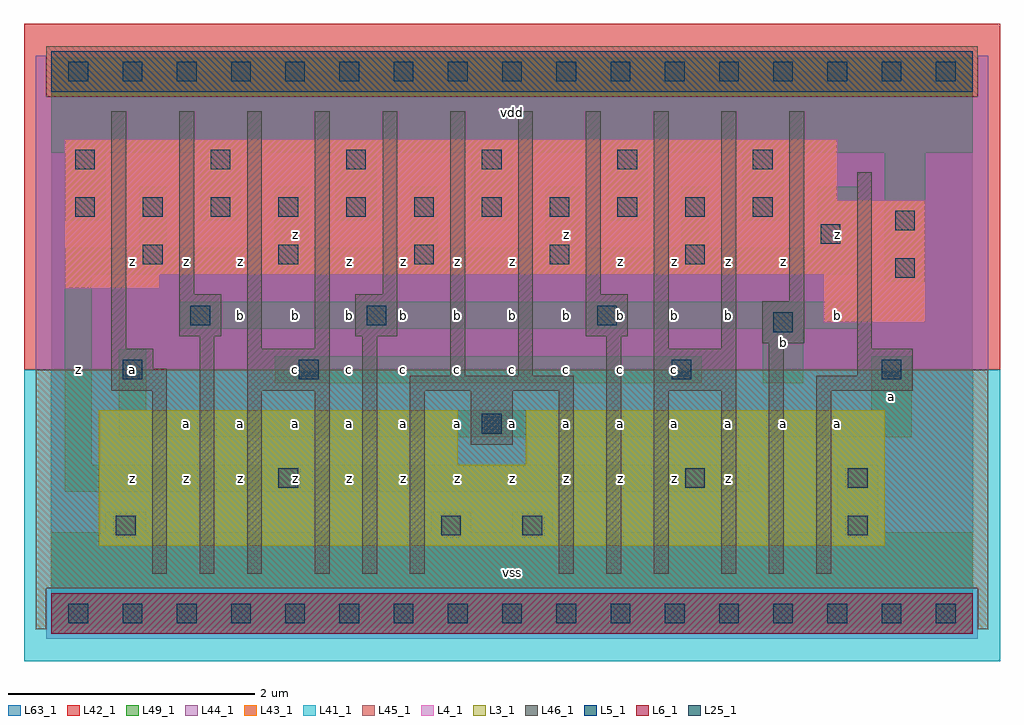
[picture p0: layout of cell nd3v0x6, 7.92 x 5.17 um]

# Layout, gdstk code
import gdstk
lib = gdstk.Library(unit=1e-6, precision=1e-09)
def R(c, l, rs):  # rectangles x0, y0, x1, y1
    for r in rs: c.add(gdstk.rectangle(r[:2], r[2:], *l))
def A(c, l, x, y, w, h, nx, ny, dx, dy):  # array of equal rectangles
    R(c, l, [(x+i*dx, y+j*dy, x+i*dx+w, y+j*dy+h) for i in range(nx) for j in range(ny)])
L3_1 = (3, 1)
L4_1 = (4, 1)
L5_1 = (5, 1)
L6_1 = (6, 1)
L25_1 = (25, 1)
L41_1 = (41, 1)
L42_1 = (42, 1)
L43_1 = (43, 1)
L44_1 = (44, 1)
L45_1 = (45, 1)
L46_1 = (46, 1)
L49_1 = (49, 1)
L63_1 = (63, 1)

nd3v0x6 = lib.new_cell('nd3v0x6')
R(nd3v0x6, L3_1, [(0.385,0.55,6.765,1.21), (0.385,1.21,3.3,1.65), (3.85,1.21,6.765,1.65)])
R(nd3v0x6, L4_1, [(6.27,2.365,7.095,2.75), (0.11,2.64,0.88,2.75), (0.11,2.75,7.095,3.355), (0.11,3.355,6.38,3.85)])
R(nd3v0x6, L5_1, [(0,4.235,7.48,4.565)])
R(nd3v0x6, L6_1, [(0,-0.165,7.48,0.165)])
A(nd3v0x6, L25_1, 0.14, -0.08, 0.16, 0.16, 17, 2, 0.44, 4.4)
A(nd3v0x6, L25_1, 0.745, 2.835, 0.16, 0.16, 5, 1, 1.1, 0)
A(nd3v0x6, L25_1, 0.195, 3.22, 0.16, 0.16, 11, 1, 0.55, 0)
A(nd3v0x6, L25_1, 0.195, 3.605, 0.16, 0.16, 6, 1, 1.1, 0)
R(nd3v0x6, L25_1, [(0.525,0.635,0.685,0.795), (3.165,0.635,3.325,0.795), (3.825,0.635,3.985,0.795), (6.465,0.635,6.625,0.795), (1.845,1.02,2.005,1.18), (5.145,1.02,5.305,1.18), (6.465,1.02,6.625,1.18), (3.495,1.46,3.655,1.62), (0.58,1.9,0.74,2.06), (2.01,1.9,2.17,2.06), (5.035,1.9,5.195,2.06), (6.74,1.9,6.9,2.06), (5.86,2.285,6.02,2.445), (1.13,2.34,1.29,2.5), (2.56,2.34,2.72,2.5), (4.43,2.34,4.59,2.5), (6.85,2.725,7.01,2.885), (6.245,3,6.405,3.16), (6.85,3.11,7.01,3.27)])
R(nd3v0x6, L41_1, [(-0.22,-0.385,7.7,1.98)])
R(nd3v0x6, L42_1, [(-0.22,1.98,7.7,4.785)])
R(nd3v0x6, L43_1, [(0,-0.165,7.48,0.165), (0.385,0.55,6.765,1.21), (0.385,1.21,3.3,1.65), (3.85,1.21,6.765,1.65), (6.27,2.365,7.095,2.75), (0.11,2.64,0.88,2.75), (0.11,2.75,7.095,3.355), (0.11,3.355,6.38,3.85), (0,4.235,7.48,4.565)])
R(nd3v0x6, L44_1, [(-0.04,-0.205,7.52,0.205), (-0.125,1.98,7.605,4.195), (-0.125,4.195,-0.04,4.525), (7.52,4.195,7.605,4.525)])
R(nd3v0x6, L45_1, [(-0.125,-0.125,-0.04,0.205), (7.52,-0.125,7.605,0.205), (-0.125,0.205,7.605,1.98), (-0.04,4.195,7.52,4.605)])
A(nd3v0x6, L46_1, 1.04, 2.59, 0.12, 1.485, 3, 1, 1.65, 0)
R(nd3v0x6, L46_1, [(0.82,0.325,0.94,1.81), (1.205,0.325,1.325,2.25), (1.59,0.325,1.71,1.81), (2.14,0.325,2.26,1.81), (2.525,0.325,2.645,2.25), (2.91,0.325,3.03,1.81), (4.12,0.325,4.24,1.81), (4.505,0.325,4.625,2.25), (4.89,0.325,5.01,1.81), (5.44,0.325,5.56,1.81), (5.825,0.325,5.945,2.195), (6.21,0.325,6.33,1.81), (3.405,1.37,3.745,1.81), (0.49,1.81,0.94,1.985), (1.59,1.81,2.26,2.15), (2.91,1.81,4.24,1.93), (4.89,1.81,5.56,2.15), (6.21,1.81,6.99,1.93), (3.24,1.93,3.36,4.075), (3.79,1.93,3.91,4.075), (6.54,1.93,6.99,2.15), (0.49,1.985,0.83,2.15), (0.49,2.15,0.61,4.075), (1.59,2.15,1.71,4.075), (2.14,2.15,2.26,4.075), (4.89,2.15,5.01,4.075), (5.44,2.15,5.56,4.075), (6.54,2.15,6.66,3.58), (5.77,2.195,6.11,2.535), (1.04,2.25,1.38,2.59), (2.47,2.25,2.81,2.59), (4.34,2.25,4.68,2.59), (5.99,2.535,6.11,4.075)])
A(nd3v0x6, L49_1, 0.715, 2.97, 0.22, 0.495, 3, 1, 2.2, 0)
A(nd3v0x6, L49_1, 0.11, 3.19, 0.33, 0.55, 6, 1, 1.1, 0)
R(nd3v0x6, L49_1, [(0,-0.11,7.48,0.66), (0.44,0.66,0.77,0.825), (3.08,0.66,3.41,0.825), (3.74,0.66,4.07,0.825), (6.38,0.66,6.71,1.21), (0.11,0.99,5.665,1.21), (0.11,1.21,0.33,2.75), (0.55,1.43,6.985,1.65), (0.55,1.65,0.77,2.145), (6.655,1.65,6.985,2.09), (1.815,1.87,5.28,2.09), (5.775,1.87,6.105,2.31), (1.045,2.31,6.545,2.53), (6.765,2.695,7.095,3.74), (0.11,2.75,6.545,2.97), (1.815,2.97,2.09,3.465), (4.015,2.97,4.29,3.465), (6.215,2.97,6.545,3.465), (0,3.74,7.48,4.51)])
R(nd3v0x6, L63_1, [(0,0,7.48,4.4)])
nd3v0x6.add(gdstk.Label('z', (0.66,1.1), layer=49, texttype=1))
nd3v0x6.add(gdstk.Label('z', (0.22,1.98), layer=49, texttype=1))
nd3v0x6.add(gdstk.Label('a', (0.66,1.98), layer=49, texttype=1))
nd3v0x6.add(gdstk.Label('z', (0.66,2.86), layer=49, texttype=1))
nd3v0x6.add(gdstk.Label('z', (1.1,1.1), layer=49, texttype=1))
nd3v0x6.add(gdstk.Label('z', (1.54,1.1), layer=49, texttype=1))
nd3v0x6.add(gdstk.Label('z', (1.98,1.1), layer=49, texttype=1))
nd3v0x6.add(gdstk.Label('a', (1.54,1.54), layer=49, texttype=1))
nd3v0x6.add(gdstk.Label('a', (1.98,1.54), layer=49, texttype=1))
nd3v0x6.add(gdstk.Label('a', (1.1,1.54), layer=49, texttype=1))
nd3v0x6.add(gdstk.Label('c', (1.98,1.98), layer=49, texttype=1))
nd3v0x6.add(gdstk.Label('b', (1.54,2.42), layer=49, texttype=1))
nd3v0x6.add(gdstk.Label('b', (1.98,2.42), layer=49, texttype=1))
nd3v0x6.add(gdstk.Label('z', (1.1,2.86), layer=49, texttype=1))
nd3v0x6.add(gdstk.Label('z', (1.54,2.86), layer=49, texttype=1))
nd3v0x6.add(gdstk.Label('z', (1.98,3.08), layer=49, texttype=1))
nd3v0x6.add(gdstk.Label('z', (2.42,1.1), layer=49, texttype=1))
nd3v0x6.add(gdstk.Label('z', (2.86,1.1), layer=49, texttype=1))
nd3v0x6.add(gdstk.Label('z', (3.3,1.1), layer=49, texttype=1))
nd3v0x6.add(gdstk.Label('a', (2.86,1.54), layer=49, texttype=1))
nd3v0x6.add(gdstk.Label('a', (3.3,1.54), layer=49, texttype=1))
nd3v0x6.add(gdstk.Label('a', (2.42,1.54), layer=49, texttype=1))
nd3v0x6.add(gdstk.Label('c', (2.42,1.98), layer=49, texttype=1))
nd3v0x6.add(gdstk.Label('c', (2.86,1.98), layer=49, texttype=1))
nd3v0x6.add(gdstk.Label('c', (3.3,1.98), layer=49, texttype=1))
nd3v0x6.add(gdstk.Label('b', (2.86,2.42), layer=49, texttype=1))
nd3v0x6.add(gdstk.Label('b', (3.3,2.42), layer=49, texttype=1))
nd3v0x6.add(gdstk.Label('b', (2.42,2.42), layer=49, texttype=1))
nd3v0x6.add(gdstk.Label('z', (2.42,2.86), layer=49, texttype=1))
nd3v0x6.add(gdstk.Label('z', (2.86,2.86), layer=49, texttype=1))
nd3v0x6.add(gdstk.Label('z', (3.3,2.86), layer=49, texttype=1))
nd3v0x6.add(gdstk.Label('vss', (3.74,0.33), layer=49, texttype=1))
nd3v0x6.add(gdstk.Label('z', (3.74,1.1), layer=49, texttype=1))
nd3v0x6.add(gdstk.Label('z', (4.18,1.1), layer=49, texttype=1))
nd3v0x6.add(gdstk.Label('z', (4.62,1.1), layer=49, texttype=1))
nd3v0x6.add(gdstk.Label('a', (4.18,1.54), layer=49, texttype=1))
nd3v0x6.add(gdstk.Label('a', (4.62,1.54), layer=49, texttype=1))
nd3v0x6.add(gdstk.Label('a', (3.74,1.54), layer=49, texttype=1))
nd3v0x6.add(gdstk.Label('c', (3.74,1.98), layer=49, texttype=1))
nd3v0x6.add(gdstk.Label('c', (4.18,1.98), layer=49, texttype=1))
nd3v0x6.add(gdstk.Label('c', (4.62,1.98), layer=49, texttype=1))
nd3v0x6.add(gdstk.Label('b', (4.18,2.42), layer=49, texttype=1))
nd3v0x6.add(gdstk.Label('b', (4.62,2.42), layer=49, texttype=1))
nd3v0x6.add(gdstk.Label('b', (3.74,2.42), layer=49, texttype=1))
nd3v0x6.add(gdstk.Label('z', (3.74,2.86), layer=49, texttype=1))
nd3v0x6.add(gdstk.Label('z', (4.62,2.86), layer=49, texttype=1))
nd3v0x6.add(gdstk.Label('z', (4.18,3.08), layer=49, texttype=1))
nd3v0x6.add(gdstk.Label('vdd', (3.74,4.07), layer=49, texttype=1))
nd3v0x6.add(gdstk.Label('z', (5.06,1.1), layer=49, texttype=1))
nd3v0x6.add(gdstk.Label('z', (5.5,1.1), layer=49, texttype=1))
nd3v0x6.add(gdstk.Label('a', (5.5,1.54), layer=49, texttype=1))
nd3v0x6.add(gdstk.Label('a', (5.94,1.54), layer=49, texttype=1))
nd3v0x6.add(gdstk.Label('a', (5.06,1.54), layer=49, texttype=1))
nd3v0x6.add(gdstk.Label('c', (5.06,1.98), layer=49, texttype=1))
nd3v0x6.add(gdstk.Label('b', (5.5,2.42), layer=49, texttype=1))
nd3v0x6.add(gdstk.Label('b', (5.94,2.2), layer=49, texttype=1))
nd3v0x6.add(gdstk.Label('b', (5.06,2.42), layer=49, texttype=1))
nd3v0x6.add(gdstk.Label('z', (5.06,2.86), layer=49, texttype=1))
nd3v0x6.add(gdstk.Label('z', (5.5,2.86), layer=49, texttype=1))
nd3v0x6.add(gdstk.Label('z', (5.94,2.86), layer=49, texttype=1))
nd3v0x6.add(gdstk.Label('a', (6.38,1.54), layer=49, texttype=1))
nd3v0x6.add(gdstk.Label('a', (6.82,1.76), layer=49, texttype=1))
nd3v0x6.add(gdstk.Label('b', (6.38,2.42), layer=49, texttype=1))
nd3v0x6.add(gdstk.Label('z', (6.38,3.08), layer=49, texttype=1))

lib.write_gds('nd3v0x6.gds')
